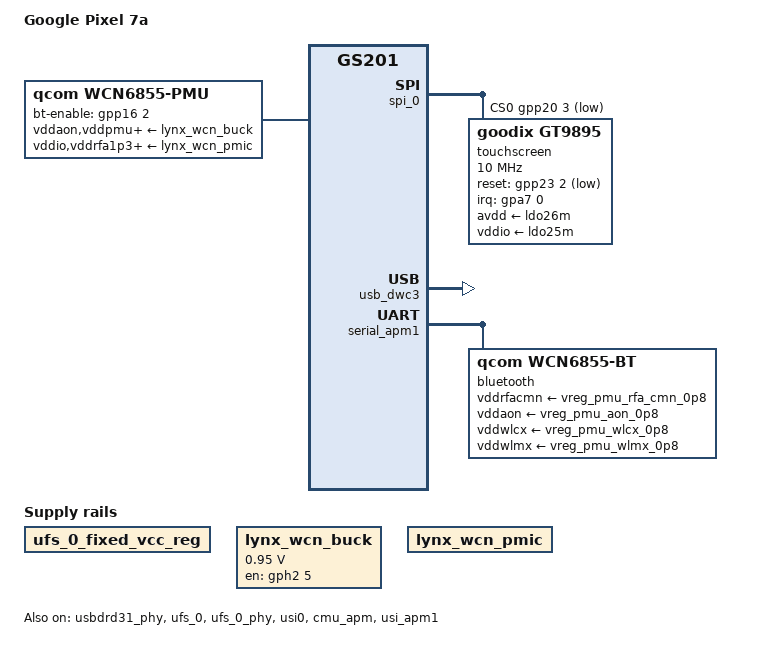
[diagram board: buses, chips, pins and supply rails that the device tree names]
// SPDX-License-Identifier: GPL-2.0-only
/*
 * Google Pixel 7a (lynx) - M1 bring-up board file.
 *
 * USB (NCM + ACM), the cluster watchdogs from gs201.dtsi, a
 * simple-framebuffer on the buffer ABL leaves DPP0 scanning out, UFS and
 * the touchscreen. The panel driver and the GPU stay disabled.
 */

/dts-v1/;

#include "gs201.dtsi"

/ {
	model = "Google Pixel 7a";
	compatible = "google,gs201-lynx", "google,gs201";

	/*
	 * lynx's SoC is the IPOP package (ro.boot.hw.soc.pkg_mode 1). ABL picks
	 * its base DTB on /soc_compatible, not /soc_id: stock's
	 * vendor_kernel_boot carries a0 and b0 (soc_id) and b0_v2-ipop, and the
	 * live tree on this phone is the IPOP one.
	 */
	soc_compatible {
		B0_IPOP {
			description = "B0,IPOP";
			product_id = <0x9855>;
			major = <0x1>;
			minor = <0x0>;
			pkg_mode = <0x1>;
		};
	};

	chosen {
		/* ABL requires bootargs to exist; it appends its own after these. */
		bootargs = "console=tty0 fbcon=font:TER16x32 panic=10 clk_ignore_unused pd_ignore_unused rdinit=/init omamobile.ufs-probe";
		#address-cells = <2>;
		#size-cells = <1>;
		ranges;

		/*
		 * ABL leaves DECON0 -> DSIM0 -> panel (sdc-s6e3fc5) running in
		 * command mode with DPP0 scanning 0xfac00000 (RDMA_BASEADDR_Y8,
		 * read on this phone). There is no panel driver, so no panel
		 * phandle; the size comes from this node.
		 */
		framebuffer0: framebuffer@fac00000 {
			compatible = "simple-framebuffer";
			reg = <0x0 0xfac00000 (1080 * 2400 * 4)>;
			memory-region = <&cont_splash_mem>;
			width = <1080>;
			height = <2400>;
			stride = <(1080 * 4)>;
			format = "a8r8g8b8";
		};
	};

	/*
	 * UFS VCC. Stock drives it from GPIO gpp0-1 (boot-on), as on
	 * cheetah; there is no gs201 GPIO driver yet, so describe it as
	 * always on, as the bootloader leaves it.
	 */
	ufs_0_fixed_vcc_reg: regulator-ufs-vcc {
		compatible = "regulator-fixed";
		regulator-name = "ufs-vcc";
		regulator-always-on;
		regulator-boot-on;
	};

	/*
	 * ABL adds sec_dram, sec_pt and pkvm_guest_firmware to this tree
	 * itself. Stock's tui, mfc_fw and famodel are pools the kernel
	 * places at boot (size and alloc-ranges, no fixed address), so
	 * nothing reserves them here. ramoops keeps stock's layout so a log
	 * survives a warm reboot into slot A.
	 */
	reserved-memory {
		#address-cells = <2>;
		#size-cells = <1>;
		ranges;

		ramoops@fd3ff000 {
			compatible = "ramoops";
			reg = <0x0 0xfd3ff000 0x400000>;
			console-size = <0x200000>;
			pmsg-size = <0x200000>;
		};

		/* Inside stock's wifi_region CMA pool, which this tree does not have. */
		cont_splash_mem: splash@fac00000 {
			reg = <0x0 0xfac00000 (1080 * 2400 * 4)>;
			no-map;
		};
	};
};

&acpm_ipc {
	/*
	 * Main PMIC, touch rails only. LDO25M is L25M_TSP_DVDD and LDO26M is
	 * L26M_TS_AVDD, with stock's ranges; nothing else on the stock board
	 * consumes them. Unlike on cheetah, the bootloader leaves both off.
	 * The sub-PMIC is not described.
	 */
	pmic-1 {
		compatible = "samsung,s2mpg12-pmic";
		interrupts = <GIC_SPI 72 IRQ_TYPE_LEVEL_HIGH>;
		google,vgpio2ap-sysreg = <&sysreg_vgpio2ap>;
		wakeup-source;

		regulators {
			ldo25m: ldo25m {
				regulator-name = "vddio-ts";
				regulator-min-microvolt = <1800000>;
				regulator-max-microvolt = <1800000>;
			};

			ldo26m: ldo26m {
				regulator-name = "avdd-ts";
				regulator-min-microvolt = <3000000>;
				regulator-max-microvolt = <3000000>;
			};
		};
	};
};

/* Touchscreen: Goodix GT9895 (Berlin) on USI0 SPI, wired as on cheetah */
&spi_0 {
	pinctrl-0 = <&spi0_bus &spi0_miso &spi0_cs_gpio>;
	cs-gpios = <&gpp20 3 GPIO_ACTIVE_LOW>;
	num-cs = <1>;
	status = "okay";

	touchscreen@0 {
		compatible = "goodix,gt9895";
		reg = <0>;
		spi-max-frequency = <10000000>;
		interrupt-parent = <&gpa7>;
		interrupts = <0 IRQ_TYPE_EDGE_FALLING>;
		reset-gpios = <&gpp23 2 GPIO_ACTIVE_LOW>;
		pinctrl-0 = <&ts_irq &ts_reset>;
		pinctrl-names = "default";
		avdd-supply = <&ldo26m>;
		vddio-supply = <&ldo25m>;
		touchscreen-size-x = <1080>;
		touchscreen-size-y = <2400>;
	};
};

&usbdrd31_phy {
	status = "okay";
};

&usb_dwc3 {
	status = "okay";
};

&ufs_0 {
	vcc-supply = <&ufs_0_fixed_vcc_reg>;
	status = "okay";
};

&ufs_0_phy {
	status = "okay";
};

&usi0 {
	samsung,mode = <USI_MODE_SPI>;
	status = "okay";
};

/*
 * Bluetooth: the WCN6855 BT core on the APM USI1 UART (ttySAC18 in Google's
 * kernel), as on cheetah. Its power is the qcom,wcn6855-pmu sequencer below:
 * the shared 0.95 V buck on gph2-5 comes up first with its 7 ms ramp, then
 * BT_EN (gpp16-2), then 50 ms. Off is BT_EN low and then the buck, so
 * Bluetooth owns gph2-5 and drops it on power-off until a Wi-Fi node takes
 * the sequencer's wlan target. WLAN_EN (gph2-4) is left out until there is
 * a PCIe node. 3.2 Mbaud garbles every frame on this UART; 3 Mbaud works.
 */
/ {
	lynx_wcn_buck: regulator-wcn-buck {
		compatible = "regulator-fixed";
		regulator-name = "lynx-wcn-0p95-buck";
		regulator-min-microvolt = <950000>;
		regulator-max-microvolt = <950000>;
		gpio = <&gph2 5 GPIO_ACTIVE_HIGH>;
		enable-active-high;
		startup-delay-us = <7000>;
	};

	/*
	 * Stand-in for the PMIC rails behind the chip's I/O, 1.3 V and 1.9 V
	 * inputs. Stock's device tree names no supply on its cnss2 or btpower
	 * node (only the three GPIOs), so which PMIC regulators feed them is
	 * unknown; they are on at boot and the host never switches them.
	 */
	lynx_wcn_pmic: regulator-wcn-pmic {
		compatible = "regulator-fixed";
		regulator-name = "lynx-wcn-pmic-rails";
		regulator-always-on;
	};

	wcn6855-pmu {
		compatible = "qcom,wcn6855-pmu";
		pinctrl-0 = <&bt_reg_on>;
		pinctrl-names = "default";

		bt-enable-gpios = <&gpp16 2 GPIO_ACTIVE_HIGH>;

		vddaon-supply = <&lynx_wcn_buck>;
		vddpmu-supply = <&lynx_wcn_buck>;
		vddpmumx-supply = <&lynx_wcn_buck>;
		vddpmucx-supply = <&lynx_wcn_buck>;
		vddrfa0p95-supply = <&lynx_wcn_buck>;
		vddio-supply = <&lynx_wcn_pmic>;
		vddrfa1p3-supply = <&lynx_wcn_pmic>;
		vddrfa1p9-supply = <&lynx_wcn_pmic>;
		vddpcie1p3-supply = <&lynx_wcn_pmic>;
		vddpcie1p9-supply = <&lynx_wcn_pmic>;

		regulators {
			vreg_pmu_rfa_cmn_0p8: ldo0 {
				regulator-name = "vreg_pmu_rfa_cmn_0p8";
			};

			vreg_pmu_aon_0p8: ldo1 {
				regulator-name = "vreg_pmu_aon_0p8";
			};

			vreg_pmu_wlcx_0p8: ldo2 {
				regulator-name = "vreg_pmu_wlcx_0p8";
			};

			vreg_pmu_wlmx_0p8: ldo3 {
				regulator-name = "vreg_pmu_wlmx_0p8";
			};

			vreg_pmu_btcmx_0p8: ldo4 {
				regulator-name = "vreg_pmu_btcmx_0p8";
			};

			vreg_pmu_pcie_1p8: ldo5 {
				regulator-name = "vreg_pmu_pcie_1p8";
			};

			vreg_pmu_pcie_0p9: ldo6 {
				regulator-name = "vreg_pmu_pcie_0p9";
			};

			vreg_pmu_rfa_0p8: ldo7 {
				regulator-name = "vreg_pmu_rfa_0p8";
			};

			vreg_pmu_rfa_1p2: ldo8 {
				regulator-name = "vreg_pmu_rfa_1p2";
			};

			vreg_pmu_rfa_1p7: ldo9 {
				regulator-name = "vreg_pmu_rfa_1p7";
			};
		};
	};
};

&cmu_apm {
	status = "okay";
};

/* gph2 (the buck's GPIO) is on HSI2, disabled in gs201.dtsi. */
&pinctrl_hsi2 {
	status = "okay";
};

&pinctrl_peric0 {
	status = "okay";

	bt_reg_on: bt-reg-on-pins {
		samsung,pins = "gpp16-2";
		samsung,pin-function = <GS101_PIN_FUNC_OUTPUT>;
		samsung,pin-pud = <GS101_PIN_PULL_NONE>;
		samsung,pin-drv = <GS101_PIN_DRV_2_5_MA>;
	};
};

&serial_apm1 {
	status = "okay";

	bluetooth {
		compatible = "qcom,wcn6855-bt";

		vddrfacmn-supply = <&vreg_pmu_rfa_cmn_0p8>;
		vddaon-supply = <&vreg_pmu_aon_0p8>;
		vddwlcx-supply = <&vreg_pmu_wlcx_0p8>;
		vddwlmx-supply = <&vreg_pmu_wlmx_0p8>;
		vddbtcmx-supply = <&vreg_pmu_btcmx_0p8>;
		vddrfa0p8-supply = <&vreg_pmu_rfa_0p8>;
		vddrfa1p2-supply = <&vreg_pmu_rfa_1p2>;
		vddrfa1p7-supply = <&vreg_pmu_rfa_1p7>;

		/* 3.2 Mbaud garbles every frame on this UART; 1, 2 and 3 Mbaud work. */
		max-speed = <3000000>;
	};
};

&usi_apm1 {
	status = "okay";
};
